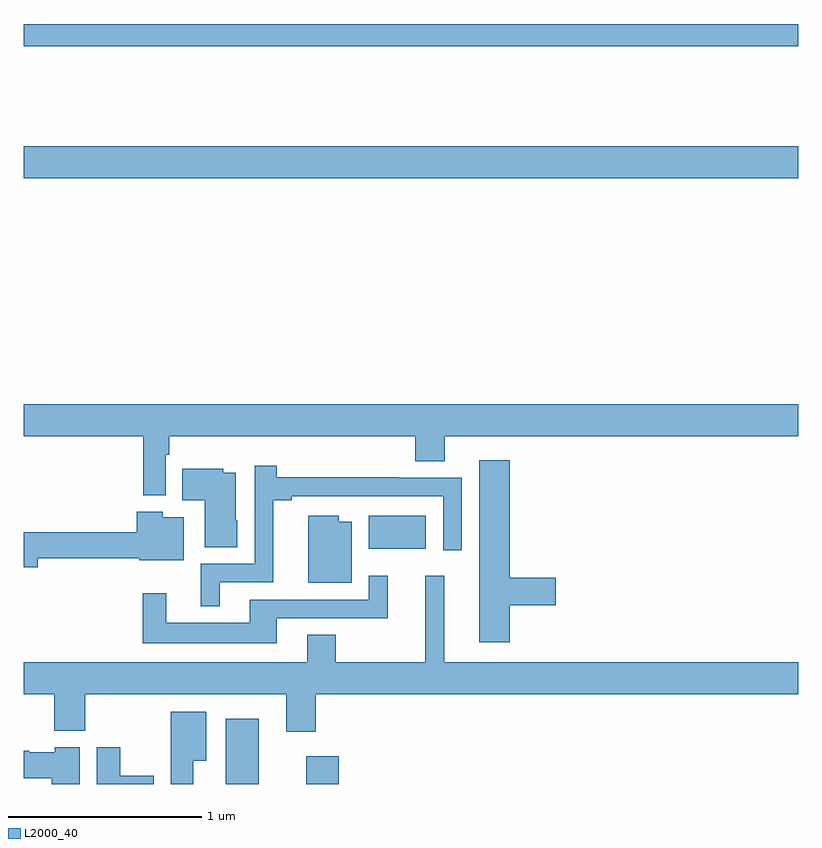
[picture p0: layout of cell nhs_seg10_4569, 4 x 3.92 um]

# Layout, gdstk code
import gdstk
lib = gdstk.Library(unit=1e-6, precision=1e-09)
def R(c, l, rs):  # rectangles x0, y0, x1, y1
    for r in rs: c.add(gdstk.rectangle(r[:2], r[2:], *l))
def P(c, l, *ps):  # polygons
    for p in ps: c.add(gdstk.Polygon(p, *l))
L2000_40 = (2000, 40)

nhs_seg10_4569 = lib.new_cell('nhs_seg10_4569')
R(nhs_seg10_4569, L2000_40, [(372.044,1318.5,372.214,1318.837), (372.458,1318.5,372.626,1318.642), (372.782,1319.714,373.075,1319.884), (371,1321.628,375,1321.792), (371,1322.308,375,1322.424)])
P(nhs_seg10_4569, L2000_40, [(371.733,1320.2),(371.753,1320.2),(371.753,1320.296),(373.022,1320.296),(373.022,1320.166),(373.174,1320.166),(373.174,1320.296),(375,1320.296),(375,1320.46),(371,1320.46),(371,1320.296),(371.617,1320.296),(371.617,1319.99),(371.733,1319.99)],
  [(373.511,1319.422),(373.747,1319.422),(373.747,1319.564),(373.511,1319.564),(373.511,1320.172),(373.352,1320.172),(373.352,1319.232),(373.511,1319.232)],
  [(372.013,1319.541),(372.29,1319.541),(372.29,1319.965),(372.385,1319.965),(372.385,1319.985),(373.167,1319.985),(373.167,1319.706),(373.263,1319.706),(373.263,1320.081),(372.938,1320.081),(372.938,1320.083),(372.308,1320.083),(372.308,1320.142),(372.192,1320.142),(372.192,1319.637),(371.915,1319.637),(371.915,1319.417),(372.013,1319.417)],
  [(372.103,1319.862),(372.094,1319.862),(372.094,1320.106),(372.03,1320.106),(372.03,1320.127),(371.818,1320.127),(371.818,1319.966),(371.936,1319.966),(371.936,1319.722),(372.103,1319.722)],
  [(371.074,1319.665),(371.597,1319.665),(371.597,1319.654),(371.827,1319.654),(371.827,1319.878),(371.718,1319.878),(371.718,1319.905),(371.585,1319.905),(371.585,1319.801),(371,1319.801),(371,1319.618),(371.074,1319.618)],
  [(372.694,1319.854),(372.628,1319.854),(372.628,1319.884),(372.47,1319.884),(372.47,1319.54),(372.694,1319.54)],
  [(372.307,1319.355),(372.881,1319.355),(372.881,1319.575),(372.783,1319.575),(372.783,1319.451),(372.167,1319.451),(372.167,1319.332),(371.737,1319.332),(371.737,1319.485),(371.616,1319.485),(371.616,1319.228),(372.307,1319.228)],
  [(372.509,1318.964),(375,1318.964),(375,1319.128),(373.172,1319.128),(373.172,1319.575),(373.073,1319.575),(373.073,1319.128),(372.612,1319.128),(372.612,1319.27),(372.464,1319.27),(372.464,1319.128),(371,1319.128),(371,1318.964),(371.159,1318.964),(371.159,1318.775),(371.319,1318.775),(371.319,1318.964),(372.356,1318.964),(372.356,1318.77),(372.509,1318.77)],
  [(371.875,1318.619),(371.944,1318.619),(371.944,1318.873),(371.759,1318.873),(371.759,1318.5),(371.875,1318.5)],
  [(371.671,1318.543),(371.5,1318.543),(371.5,1318.69),(371.378,1318.69),(371.378,1318.5),(371.671,1318.5)],
  [(371.29,1318.69),(371.16,1318.69),(371.16,1318.663),(371.03,1318.663),(371.03,1318.671),(371,1318.671),(371,1318.529),(371.144,1318.529),(371.144,1318.5),(371.29,1318.5)])

lib.write_gds('nhs_seg10_4569.gds')
